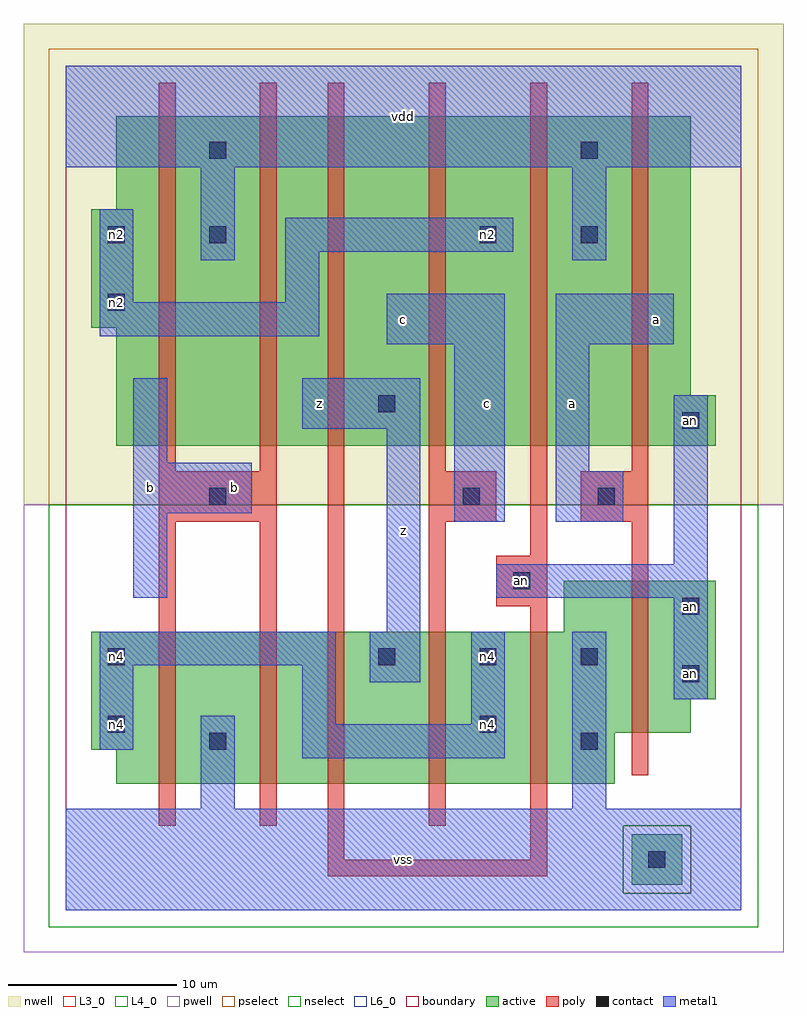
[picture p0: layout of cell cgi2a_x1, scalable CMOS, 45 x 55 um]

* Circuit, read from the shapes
.subckt cgi2a_x1 a an b c n2 n4 vdd vss z
M1 vss b n4 vss nfet w=9u l=1u
M2 n1 b vss vss nfet w=9u l=1u
M3 z an n1 vss nfet w=9u l=1u
M4 n4 c z vss nfet w=9u l=1u
M5 vss an n4 vss nfet w=9u l=1u
M6 an a vss vss nfet w=9u l=1u
M7 vdd b n2 n3 pfet w=19.5u l=1u
M8 n5 b vdd n3 pfet w=19.5u l=1u
M9 z an n5 n3 pfet w=19.5u l=1u
M10 n2 c z n3 pfet w=19.5u l=1u
M11 vdd an n2 n3 pfet w=19.5u l=1u
M12 an a vdd n3 pfet w=19.5u l=1u
.ends

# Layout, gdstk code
import gdstk
lib = gdstk.Library(unit=1e-6, precision=1e-09)
def R(c, l, rs):  # rectangles x0, y0, x1, y1
    for r in rs: c.add(gdstk.rectangle(r[:2], r[2:], *l))
def A(c, l, x, y, w, h, nx, ny, dx, dy):  # array of equal rectangles
    R(c, l, [(x+i*dx, y+j*dy, x+i*dx+w, y+j*dy+h) for i in range(nx) for j in range(ny)])
L3_0 = (3, 0)
L4_0 = (4, 0)
L6_0 = (6, 0)
contact = (25, 0)
pwell = (41, 0)
nwell = (42, 0)
active = (43, 0)
pselect = (44, 0)
nselect = (45, 0)
poly = (46, 0)
metal1 = (49, 0)
boundary = (63, 0)

cgi2a_x1 = lib.new_cell('cgi2a_x1')
R(cgi2a_x1, L3_0, [(3,7.5,32.5,9.5), (1.5,9.5,32.5,10.5), (1.5,10.5,37,12.5), (1.5,12.5,38.5,16.5), (29.5,16.5,38.5,19.5)])
R(cgi2a_x1, L4_0, [(3,27.5,38.5,30.5), (3,30.5,37,34.5), (1.5,34.5,37,41.5), (3,41.5,37,47)])
R(cgi2a_x1, L6_0, [(33.5,1.5,36.5,4.5)])
A(cgi2a_x1, contact, 18.5, 14.5, 1, 1, 3, 1, 6, 0)
R(cgi2a_x1, contact, [(34.5,2.5,35.5,3.5), (8.5,9.5,9.5,10.5), (30.5,9.5,31.5,10.5), (2.5,10.5,3.5,11.5), (24.5,10.5,25.5,11.5), (36.5,13.5,37.5,14.5), (2.5,14.5,3.5,15.5), (36.5,17.5,37.5,18.5), (26.5,19,27.5,20), (8.5,24,9.5,25), (23.5,24,24.5,25), (31.5,24,32.5,25), (36.5,28.5,37.5,29.5), (18.5,29.5,19.5,30.5), (2.5,35.5,3.5,36.5), (2.5,39.5,3.5,40.5), (8.5,39.5,9.5,40.5), (24.5,39.5,25.5,40.5), (30.5,39.5,31.5,40.5), (8.5,44.5,9.5,45.5), (30.5,44.5,31.5,45.5)])
R(cgi2a_x1, pwell, [(-2.5,-2.5,42.5,24)])
R(cgi2a_x1, nwell, [(-2.5,24,42.5,52.5)])
R(cgi2a_x1, active, [(33.5,1.5,36.5,4.5), (3,7.5,32.5,9.5), (1.5,9.5,32.5,10.5), (1.5,10.5,37,12.5), (1.5,12.5,38.5,16.5), (29.5,16.5,38.5,19.5), (3,27.5,38.5,30.5), (3,30.5,37,34.5), (1.5,34.5,37,41.5), (3,41.5,37,47)])
R(cgi2a_x1, pselect, [(33,1,37,5), (-1,24,41,51)])
R(cgi2a_x1, nselect, [(-1,-1,41,1), (-1,1,33,5), (37,1,41,5), (-1,5,41,24)])
R(cgi2a_x1, poly, [(15.5,2,28.5,3), (15.5,3,16.5,49), (27.5,3,28.5,18), (5.5,5,6.5,23), (11.5,5,12.5,23), (21.5,5,22.5,23), (33.5,8,34.5,23), (25.5,18,28.5,21), (27.5,21,28.5,49), (5.5,23,12.5,26), (21.5,23,25.5,26), (30.5,23,34.5,26), (5.5,26,6.5,49), (11.5,26,12.5,49), (21.5,26,22.5,49), (33.5,26,34.5,49)])
R(cgi2a_x1, metal1, [(0,0,40,6), (0,0,40,6), (8,6,10,11.5), (8,6,10,11.5), (30,6,32,16.5), (30,6,32,16.5), (14,9,26,11), (14,9,26,11), (2,9.5,4,14.5), (2,9.5,4,14.5), (14,11,16,14.5), (14,11,16,14.5), (24,11,26,16.5), (24,11,26,16.5), (36,12.5,38,18.5), (36,12.5,38,18.5), (18,13.5,21,16.5), (18,13.5,21,16.5), (2,14.5,16,16.5), (2,14.5,16,16.5), (19,16.5,21,28.5), (19,16.5,21,28.5), (4,18.5,6,23.5), (4,18.5,6,23.5), (25.5,18.5,38,20.5), (25.5,18.5,38,20.5), (36,20.5,38,30.5), (36,20.5,38,30.5), (23,23,26,33.5), (23,23,26,33.5), (29,23,33,26), (29,23,33,26), (4,23.5,11,26.5), (4,23.5,11,26.5), (29,26,31,33.5), (29,26,31,33.5), (4,26.5,6,31.5), (4,26.5,6,31.5), (14,28.5,21,31.5), (14,28.5,21,31.5), (19,33.5,26,36.5), (19,33.5,26,36.5), (29,33.5,36,36.5), (29,33.5,36,36.5), (2,34,15,36), (2,34,15,36), (2,36,4,41.5), (2,36,4,41.5), (13,36,15,39), (13,36,15,39), (8,38.5,10,44), (8,38.5,10,44), (30,38.5,32,44), (30,38.5,32,44), (13,39,26.5,41), (13,39,26.5,41), (0,44,40,50), (0,44,40,50)])
R(cgi2a_x1, boundary, [(0,0,40,50)])
cgi2a_x1.add(gdstk.Label('n4', (3,11), layer=49, texttype=0))
cgi2a_x1.add(gdstk.Label('n4', (3,15), layer=49, texttype=0))
cgi2a_x1.add(gdstk.Label('n2', (3,36), layer=49, texttype=0))
cgi2a_x1.add(gdstk.Label('n2', (3,40), layer=49, texttype=0))
cgi2a_x1.add(gdstk.Label('n4', (25,11), layer=49, texttype=0))
cgi2a_x1.add(gdstk.Label('n4', (25,15), layer=49, texttype=0))
cgi2a_x1.add(gdstk.Label('an', (27,19.5), layer=49, texttype=0))
cgi2a_x1.add(gdstk.Label('n2', (25,40), layer=49, texttype=0))
cgi2a_x1.add(gdstk.Label('an', (37,14), layer=49, texttype=0))
cgi2a_x1.add(gdstk.Label('an', (37,18), layer=49, texttype=0))
cgi2a_x1.add(gdstk.Label('an', (37,29), layer=49, texttype=0))
cgi2a_x1.add(gdstk.Label('b', (5,25), layer=49, texttype=0))
cgi2a_x1.add(gdstk.Label('b', (10,25), layer=49, texttype=0))
cgi2a_x1.add(gdstk.Label('z', (15,30), layer=49, texttype=0))
cgi2a_x1.add(gdstk.Label('vss', (20,3), layer=49, texttype=0))
cgi2a_x1.add(gdstk.Label('z', (20,22.5), layer=49, texttype=0))
cgi2a_x1.add(gdstk.Label('c', (20,35), layer=49, texttype=0))
cgi2a_x1.add(gdstk.Label('c', (25,30), layer=49, texttype=0))
cgi2a_x1.add(gdstk.Label('vdd', (20,47), layer=49, texttype=0))
cgi2a_x1.add(gdstk.Label('a', (30,30), layer=49, texttype=0))
cgi2a_x1.add(gdstk.Label('a', (35,35), layer=49, texttype=0))

lib.write_gds('cgi2a_x1.gds')
